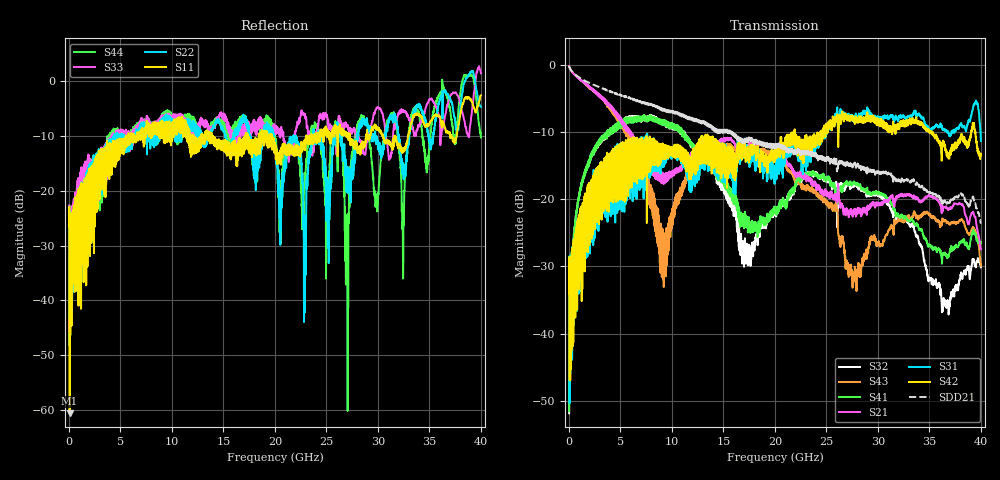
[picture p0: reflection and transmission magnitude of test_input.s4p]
! S11 = S11
! S12 = S12
! S13 = S13
! S14 = S14
! S21 = S21
! S22 = S22
! S23 = S23
! S24 = S24
! S31 = S31
! S32 = S32
! S33 = S33
! S34 = S34
! S41 = S41
! S42 = S42
! S43 = S43
! S44 = S44
! FILE: H:\Public\SJ Yu\Lab\Raw Cable\082817 6.4 30AWG Belden\AFR\1.6M_A01.s4p
!$DUT_CFG_DESC: Default 4-Port Configuration
!$NUMBER_PORTS: 4
!$DIFF_PORT_MAP: 1|2P|2|2P|0|UC|0|UC|
!$PORT_MAP: 1|1|<<<<<<|2|2|>>>>>>|3|3|<<<<<<|4|4|>>>>>>|
# MHz S DB R 50.00
! FREQ  S11  S12  S13  S14
!  S21  S22  S23  S24
!  S31  S32  S33  S34
!  S41  S42  S43  S44
!  DB  ANGLE  DB  ANGLE  DB  ANGLE  DB  ANGLE
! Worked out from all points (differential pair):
!   4000 points, 10 MHz to 40 GHz, reference 50 ohm
!   strongest paths, dB at 10 MHz, 10.01 GHz, 20.01 GHz, 30.01 GHz, 40 GHz:
!     S42: -34.1, -13.3, -13.7, -8.8, -13.3
!     S31: -34.0, -13.5, -16.6, -8.2, -11.4
!     S21: -0.3, -16.2, -12.3, -20.6, -27.5
!     S41: -51.5, -8.9, -21.8, -19.0, -26.4
!     S43: -0.2, -21.9, -13.2, -26.5, -29.9
!     S32: -51.8, -9.1, -22.1, -19.3, -30.1
!   taken as a pair (ports 1,3 in; 2,4 out), SDD21 dB: -0.2, -7.0, -12.0, -15.9, -23.5
!   lowest |S11| = -60.6 dB at 60 MHz (marker M1), VSWR 1.00, Z = 50.1 - j0.05 ohm
!   |S11| at or under -10 dB: start of sweep to 5.517 GHz; 13.94 GHz to 17.11 GHz (3.167 GHz wide, 20.4 % of centre); 19.68 GHz to 23.04 GHz (3.358 GHz wide, 15.7 % of centre)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
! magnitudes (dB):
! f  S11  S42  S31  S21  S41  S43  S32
! 10 MHz  -26.6  -34.1  -34.0  -0.3  -51.5  -0.2  -51.8
! 60 MHz  -60.6  -46.9  -50.3  -0.5  -43.5  -0.5  -43.4
! 5.74 GHz  -11.4  -19.5  -18.8  -9.7  -8.0  -10.1  -7.8
! 25.81 GHz  -8.7  -8.5  -8.0  -19.4  -18.3  -20.9  -18.1
! 26.97 GHz  -10.1  -7.8  -7.7  -21.7  -17.4  -29.9  -17.6
! 28.44 GHz  -11.4  -8.6  -7.6  -22.1  -18.4  -29.4  -18.4
! 40 GHz  -2.6  -13.3  -11.4  -27.5  -26.4  -29.9  -30.1
